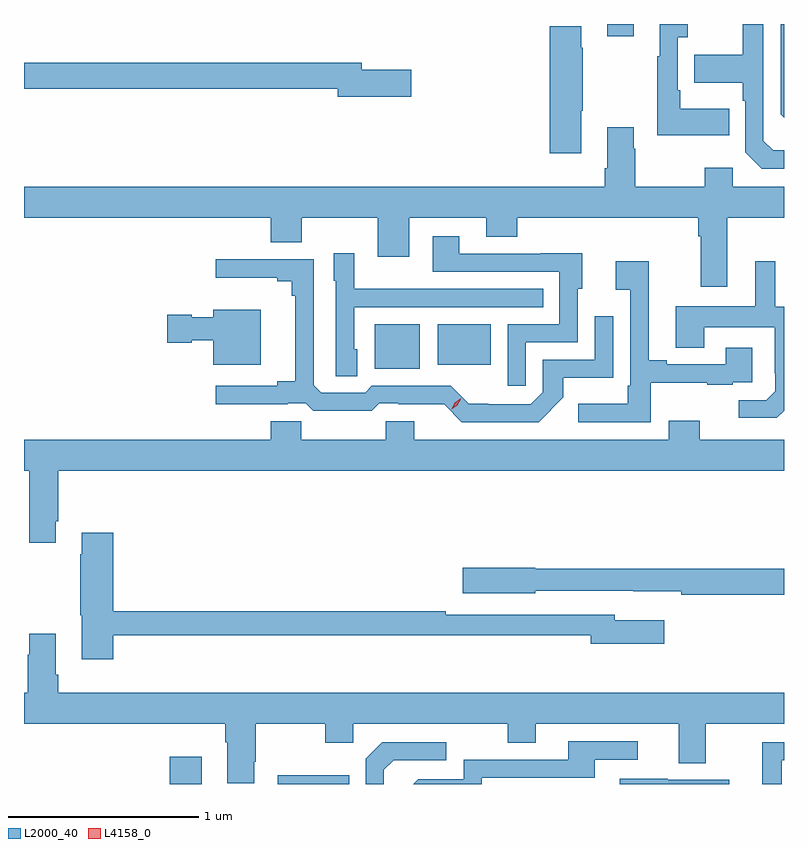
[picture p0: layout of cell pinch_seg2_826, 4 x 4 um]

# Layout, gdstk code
import gdstk
lib = gdstk.Library(unit=1e-6, precision=1e-09)
def R(c, l, rs):  # rectangles x0, y0, x1, y1
    for r in rs: c.add(gdstk.rectangle(r[:2], r[2:], *l))
def P(c, l, *ps):  # polygons
    for p in ps: c.add(gdstk.Polygon(p, *l))
L2000_40 = (2000, 40)
L4158_0 = (4158, 0)

pinch_seg2_826 = lib.new_cell('pinch_seg2_826')
R(pinch_seg2_826, L2000_40, [(765.638,584.716,765.805,584.86), (766.206,584.716,766.583,584.761), (766.715,586.901,766.954,587.137), (767.048,586.922,767.326,587.137), (767.939,588.651,768.079,588.716)])
P(pinch_seg2_826, L2000_40, [(768.581,588.271),(768.325,588.271),(768.325,588.367),(768.312,588.367),(768.312,588.647),(768.364,588.647),(768.364,588.716),(768.215,588.716),(768.215,588.547),(768.204,588.547),(768.204,588.131),(768.581,588.131)],
  [(768.87,588.716),(768.852,588.716),(768.852,588.24),(768.87,588.222)],
  [(768.87,588.051),(768.813,588.051),(768.762,588.102),(768.762,588.716),(768.654,588.716),(768.654,588.555),(768.397,588.555),(768.397,588.407),(768.654,588.407),(768.654,588.311),(768.666,588.311),(768.666,588.042),(768.753,587.955),(768.87,587.955)],
  [(767.803,588.259),(767.811,588.259),(767.811,588.59),(767.803,588.59),(767.803,588.703),(767.636,588.703),(767.636,588.036),(767.803,588.036)],
  [(766.909,588.476),(766.648,588.476),(766.648,588.512),(764.87,588.512),(764.87,588.376),(766.52,588.376),(766.52,588.334),(766.909,588.334)],
  [(768.571,587.696),(768.87,587.696),(768.87,587.86),(768.6,587.86),(768.6,587.959),(768.454,587.959),(768.454,587.86),(768.087,587.86),(768.087,588.059),(768.079,588.059),(768.079,588.172),(767.939,588.172),(767.939,587.956),(767.927,587.956),(767.927,587.86),(764.87,587.86),(764.87,587.696),(766.169,587.696),(766.169,587.568),(766.333,587.568),(766.333,587.696),(766.733,587.696),(766.733,587.49),(766.897,587.49),(766.897,587.696),(767.303,587.696),(767.303,587.597),(767.467,587.597),(767.467,587.696),(768.419,587.696),(768.419,587.6),(768.431,587.6),(768.431,587.334),(768.571,587.334)],
  [(767.511,587.04),(767.784,587.04),(767.784,587.322),(767.809,587.322),(767.809,587.51),(767.591,587.51),(767.591,587.508),(767.161,587.508),(767.161,587.599),(767.021,587.599),(767.021,587.412),(767.688,587.412),(767.688,587.136),(767.415,587.136),(767.415,586.812),(767.511,586.812)],
  [(766.624,587.004),(766.608,587.004),(766.608,587.226),(767.603,587.226),(767.603,587.322),(766.925,587.322),(766.925,587.323),(766.608,587.323),(766.608,587.509),(766.499,587.509),(766.499,587.364),(766.512,587.364),(766.512,586.861),(766.624,586.861)],
  [(767.709,586.751),(767.709,586.853),(767.97,586.853),(767.97,587.179),(767.874,587.179),(767.874,586.95),(767.601,586.95),(767.601,586.779),(767.538,586.716),(767.314,586.716),(767.314,586.718),(767.21,586.718),(767.115,586.812),(766.701,586.812),(766.665,586.776),(766.434,586.776),(766.395,586.815),(766.395,587.478),(765.879,587.478),(765.879,587.381),(766.202,587.381),(766.202,587.362),(766.279,587.362),(766.279,587.285),(766.298,587.285),(766.298,586.835),(766.202,586.835),(766.202,586.812),(765.879,586.812),(765.879,586.715),(766.259,586.715),(766.259,586.719),(766.353,586.719),(766.393,586.68),(766.701,586.68),(766.74,586.719),(766.84,586.719),(766.84,586.715),(767.081,586.715),(767.175,586.62),(767.578,586.62)],
  [(768.87,586.68),(768.87,587.228),(768.823,587.228),(768.823,587.467),(768.719,587.467),(768.719,587.23),(768.299,587.23),(768.299,587.011),(768.451,587.011),(768.451,587.12),(768.822,587.12),(768.822,586.879),(768.824,586.879),(768.824,586.784),(768.777,586.737),(768.633,586.737),(768.633,586.643),(768.833,586.643)],
  [(768.169,586.829),(768.467,586.829),(768.467,586.818),(768.599,586.818),(768.599,586.83),(768.703,586.83),(768.703,587.011),(768.563,587.011),(768.563,586.926),(768.253,586.926),(768.253,586.945),(768.157,586.945),(768.157,587.467),(767.985,587.467),(767.985,587.318),(768.06,587.318),(768.06,586.813),(768.048,586.813),(768.048,586.717),(767.787,586.717),(767.787,586.62),(768.169,586.62)],
  [(766.117,587.212),(765.866,587.212),(765.866,587.173),(765.753,587.173),(765.753,587.186),(765.624,587.186),(765.624,587.039),(765.753,587.039),(765.753,587.051),(765.866,587.051),(765.866,586.922),(766.117,586.922)],
  [(765.037,586.099),(765.05,586.099),(765.05,586.364),(768.87,586.364),(768.87,586.528),(768.427,586.528),(768.427,586.627),(768.263,586.627),(768.263,586.528),(766.924,586.528),(766.924,586.626),(766.774,586.626),(766.774,586.528),(766.329,586.528),(766.329,586.626),(766.169,586.626),(766.169,586.528),(764.87,586.528),(764.87,586.364),(764.897,586.364),(764.897,585.987),(765.037,585.987)],
  [(765.341,585.498),(767.852,585.498),(767.852,585.455),(768.241,585.455),(768.241,585.577),(767.98,585.577),(767.98,585.606),(767.09,585.606),(767.09,585.626),(765.341,585.626),(765.341,586.039),(765.173,586.039),(765.173,585.926),(765.166,585.926),(765.166,585.603),(765.173,585.603),(765.173,585.372),(765.341,585.372)],
  [(768.87,585.848),(767.562,585.848),(767.562,585.854),(767.178,585.854),(767.178,585.719),(767.562,585.719),(767.562,585.732),(768.076,585.732),(768.076,585.731),(768.328,585.731),(768.328,585.712),(768.87,585.712)],
  [(766.081,584.833),(766.089,584.833),(766.089,585.032),(766.456,585.032),(766.456,584.933),(766.602,584.933),(766.602,585.032),(767.416,585.032),(767.416,584.933),(767.563,584.933),(767.563,585.032),(768.317,585.032),(768.317,584.824),(768.457,584.824),(768.457,585.032),(768.87,585.032),(768.87,585.196),(765.05,585.196),(765.05,585.292),(765.037,585.292),(765.037,585.508),(764.897,585.508),(764.897,585.395),(764.89,585.395),(764.89,585.196),(764.87,585.196),(764.87,585.032),(765.929,585.032),(765.929,584.936),(765.941,584.936),(765.941,584.721),(766.081,584.721)],
  [(767.28,584.748),(767.875,584.748),(767.875,584.844),(768.1,584.844),(768.1,584.94),(767.735,584.94),(767.735,584.844),(767.184,584.844),(767.184,584.742),(766.944,584.742),(766.918,584.716),(767.28,584.716)],
  [(766.764,584.79),(766.815,584.841),(767.092,584.841),(767.092,584.937),(766.755,584.937),(766.668,584.85),(766.668,584.716),(766.764,584.716)],
  [(768.859,584.841),(768.87,584.841),(768.87,584.937),(768.755,584.937),(768.755,584.716),(768.859,584.716)],
  [(768.583,584.739),(768.259,584.739),(768.259,584.743),(768.005,584.743),(768.005,584.716),(768.583,584.716)])
P(pinch_seg2_826, L4158_0, [(767.12,586.688),(767.12,586.689),(767.136,586.722),(767.167,586.743),(767.168,586.743),(767.168,586.742),(767.151,586.709),(767.12,586.688)])

lib.write_gds('pinch_seg2_826.gds')
